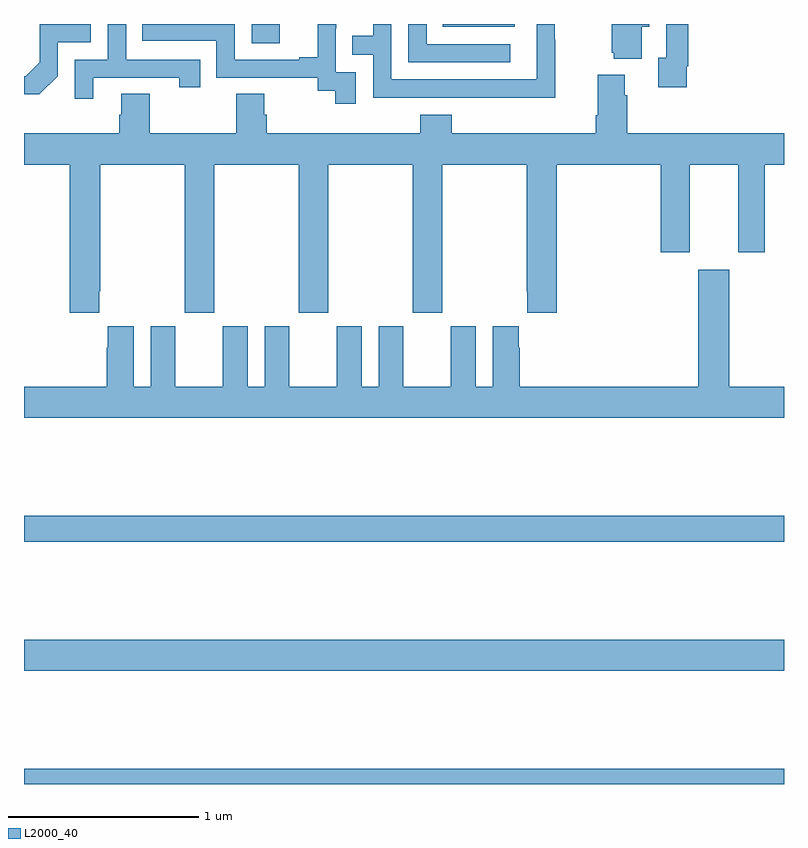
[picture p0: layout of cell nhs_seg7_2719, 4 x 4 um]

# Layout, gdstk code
import gdstk
lib = gdstk.Library(unit=1e-6, precision=1e-09)
def R(c, l, rs):  # rectangles x0, y0, x1, y1
    for r in rs: c.add(gdstk.rectangle(r[:2], r[2:], *l))
def P(c, l, *ps):  # polygons
    for p in ps: c.add(gdstk.Polygon(p, *l))
L2000_40 = (2000, 40)

nhs_seg7_2719 = lib.new_cell('nhs_seg7_2719')
R(nhs_seg7_2719, L2000_40, [(287,1020,291,1020.08), (287,1020.596,291,1020.76), (287,1021.276,291,1021.412), (288.198,1023.9,288.346,1024), (289.204,1023.986,289.582,1024)])
P(nhs_seg7_2719, L2000_40, [(290.251,1023.986),(290.29,1023.986),(290.29,1024),(290.093,1024),(290.093,1023.849),(290.105,1023.849),(290.105,1023.818),(290.251,1023.818)],
  [(290.488,1023.778),(290.495,1023.778),(290.495,1024),(290.379,1024),(290.379,1023.822),(290.339,1023.822),(290.339,1023.666),(290.488,1023.666)],
  [(287.178,1023.726),(287.178,1023.903),(287.352,1023.903),(287.352,1024),(287.255,1024),(287.255,1023.999),(287.082,1023.999),(287.082,1023.798),(287.01,1023.726),(287,1023.726),(287,1023.629),(287.08,1023.629)],
  [(289.797,1023.917),(289.794,1023.917),(289.794,1024),(289.698,1024),(289.698,1023.708),(288.933,1023.708),(288.933,1024),(288.837,1024),(288.837,1023.938),(288.727,1023.938),(288.727,1023.837),(288.837,1023.837),(288.837,1023.612),(289.333,1023.612),(289.333,1023.611),(289.797,1023.611)],
  [(288.747,1023.747),(288.642,1023.747),(288.642,1023.977),(288.644,1023.977),(288.644,1024),(288.545,1024),(288.545,1023.826),(288.449,1023.826),(288.449,1023.813),(288.108,1023.813),(288.108,1024),(287.623,1024),(287.623,1023.912),(288.012,1023.912),(288.012,1023.717),(288.546,1023.717),(288.546,1023.649),(288.639,1023.649),(288.639,1023.579),(288.747,1023.579)],
  [(287.365,1023.717),(287.816,1023.717),(287.816,1023.666),(287.927,1023.666),(287.927,1023.813),(287.538,1023.813),(287.538,1024),(287.442,1024),(287.442,1023.813),(287.268,1023.813),(287.268,1023.606),(287.365,1023.606)],
  [(289.558,1023.894),(289.119,1023.894),(289.119,1024),(289.023,1024),(289.023,1023.798),(289.558,1023.798)],
  [(287.395,1022.593),(287.4,1022.593),(287.4,1023.26),(287.845,1023.26),(287.845,1022.481),(288,1022.481),(288,1023.26),(288.445,1023.26),(288.445,1022.481),(288.6,1022.481),(288.6,1023.26),(289.045,1023.26),(289.045,1022.481),(289.2,1022.481),(289.2,1023.26),(289.645,1023.26),(289.645,1022.593),(289.649,1022.593),(289.649,1022.481),(289.805,1022.481),(289.805,1023.26),(290.351,1023.26),(290.351,1022.799),(290.503,1022.799),(290.503,1023.26),(290.759,1023.26),(290.759,1022.799),(290.899,1022.799),(290.899,1023.26),(291,1023.26),(291,1023.424),(290.174,1023.424),(290.174,1023.626),(290.161,1023.626),(290.161,1023.733),(290.021,1023.733),(290.021,1023.52),(290.009,1023.52),(290.009,1023.424),(289.25,1023.424),(289.25,1023.523),(289.085,1023.523),(289.085,1023.424),(288.278,1023.424),(288.278,1023.522),(288.265,1023.522),(288.265,1023.632),(288.118,1023.632),(288.118,1023.424),(287.661,1023.424),(287.661,1023.632),(287.513,1023.632),(287.513,1023.522),(287.501,1023.522),(287.501,1023.424),(287,1023.424),(287,1023.26),(287.24,1023.26),(287.24,1022.481),(287.395,1022.481)],
  [(291,1022.092),(290.713,1022.092),(290.713,1022.707),(290.549,1022.707),(290.549,1022.092),(289.61,1022.092),(289.61,1022.297),(289.603,1022.297),(289.603,1022.41),(289.466,1022.41),(289.466,1022.092),(289.378,1022.092),(289.378,1022.41),(289.247,1022.41),(289.247,1022.092),(288.997,1022.092),(288.997,1022.41),(288.866,1022.41),(288.866,1022.092),(288.778,1022.092),(288.778,1022.41),(288.647,1022.41),(288.647,1022.092),(288.397,1022.092),(288.397,1022.41),(288.266,1022.41),(288.266,1022.092),(288.178,1022.092),(288.178,1022.41),(288.047,1022.41),(288.047,1022.092),(287.797,1022.092),(287.797,1022.41),(287.666,1022.41),(287.666,1022.092),(287.578,1022.092),(287.578,1022.41),(287.441,1022.41),(287.441,1022.297),(287.435,1022.297),(287.435,1022.092),(287,1022.092),(287,1021.928),(291,1021.928)])

lib.write_gds('nhs_seg7_2719.gds')
